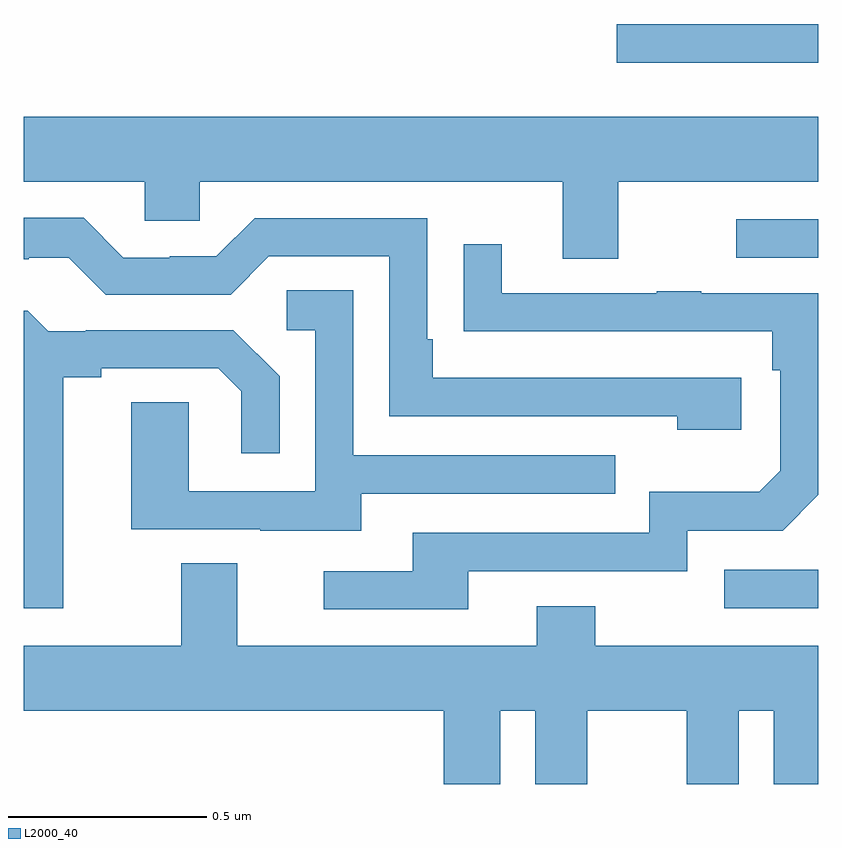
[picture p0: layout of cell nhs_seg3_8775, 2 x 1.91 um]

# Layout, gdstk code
import gdstk
lib = gdstk.Library(unit=1e-6, precision=1e-09)
def R(c, l, rs):  # rectangles x0, y0, x1, y1
    for r in rs: c.add(gdstk.rectangle(r[:2], r[2:], *l))
def P(c, l, *ps):  # polygons
    for p in ps: c.add(gdstk.Polygon(p, *l))
L2000_40 = (2000, 40)

nhs_seg3_8775 = lib.new_cell('nhs_seg3_8775')
R(nhs_seg3_8775, L2000_40, [(221.763,699.843,222,699.939), (221.793,700.725,222,700.821), (221.493,701.216,222,701.313)])
P(nhs_seg3_8775, L2000_40, [(221.497,700.916),(222,700.916),(222,701.08),(220,701.08),(220,700.916),(220.305,700.916),(220.305,700.818),(220.443,700.818),(220.443,700.916),(221.357,700.916),(221.357,700.722),(221.497,700.722)],
  [(221.806,700.422),(221.029,700.422),(221.029,700.519),(221.016,700.519),(221.016,700.824),(220.581,700.824),(220.485,700.728),(220.367,700.728),(220.367,700.725),(220.251,700.725),(220.151,700.825),(220,700.825),(220,700.721),(220.013,700.721),(220.013,700.725),(220.113,700.725),(220.206,700.632),(220.521,700.632),(220.617,700.728),(220.92,700.728),(220.92,700.326),(221.645,700.326),(221.645,700.292),(221.806,700.292)],
  [(221.119,699.936),(221.67,699.936),(221.67,700.038),(221.91,700.038),(222,700.128),(222,700.635),(221.705,700.635),(221.705,700.64),(221.593,700.64),(221.593,700.635),(221.203,700.635),(221.203,700.759),(221.107,700.759),(221.107,700.54),(221.209,700.54),(221.209,700.539),(221.884,700.539),(221.884,700.442),(221.904,700.442),(221.904,700.188),(221.851,700.135),(221.574,700.135),(221.574,700.032),(220.979,700.032),(220.979,699.936),(220.755,699.936),(220.755,699.84),(221.119,699.84)],
  [(220.849,700.131),(221.489,700.131),(221.489,700.227),(220.83,700.227),(220.83,700.643),(220.662,700.643),(220.662,700.542),(220.734,700.542),(220.734,700.137),(220.416,700.137),(220.416,700.361),(220.271,700.361),(220.271,700.041),(220.595,700.041),(220.595,700.037),(220.849,700.037)],
  [(220.099,700.424),(220.195,700.424),(220.195,700.446),(220.49,700.446),(220.547,700.389),(220.547,700.233),(220.644,700.233),(220.644,700.426),(220.528,700.542),(220.156,700.542),(220.156,700.539),(220.062,700.539),(220.01,700.591),(220,700.591),(220,699.843),(220.099,699.843)],
  [(221.2,699.584),(221.288,699.584),(221.288,699.4),(221.419,699.4),(221.419,699.584),(221.669,699.584),(221.669,699.4),(221.8,699.4),(221.8,699.584),(221.888,699.584),(221.888,699.4),(222,699.4),(222,699.748),(221.439,699.748),(221.439,699.847),(221.291,699.847),(221.291,699.748),(220.537,699.748),(220.537,699.956),(220.397,699.956),(220.397,699.748),(220,699.748),(220,699.584),(221.057,699.584),(221.057,699.4),(221.2,699.4)])

lib.write_gds('nhs_seg3_8775.gds')
